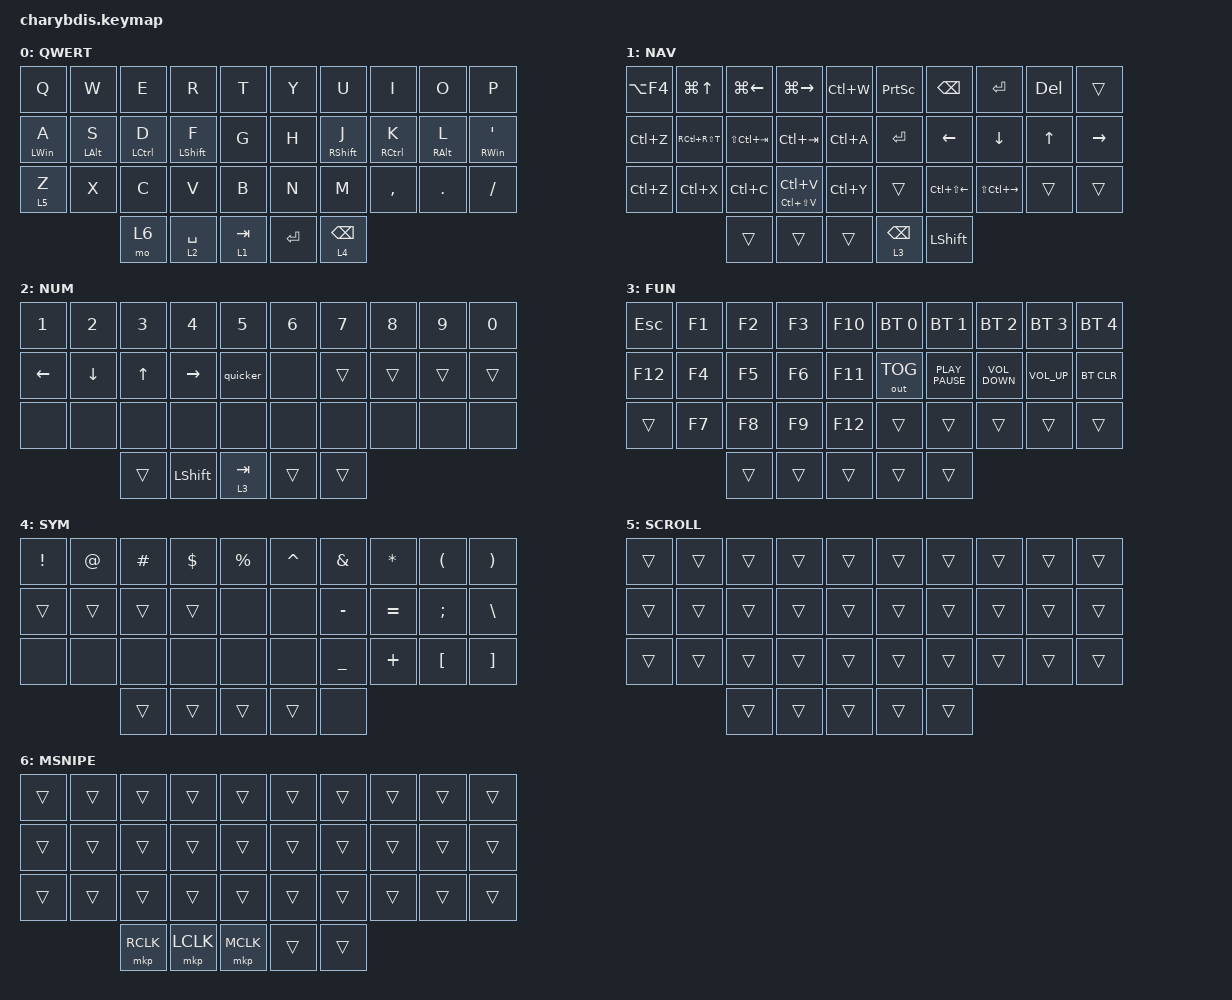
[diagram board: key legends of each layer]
#include <behaviors/mouse_keys.dtsi>
#include <dt-bindings/zmk/mouse.h>
#include <behaviors.dtsi>
#include <dt-bindings/zmk/bt.h>
#include <dt-bindings/zmk/keys.h>
#include <dt-bindings/zmk/outputs.h>
#include <dt-bindings/zmk/pointing.h>

&lt {
    tapping-term-ms = <240>;
    flavor = "tap-preferred";
    quick-tap-ms = <150>;
    require-prior-idle-ms = <10>;
};

&mt {
    tapping-term-ms = <250>;
    flavor = "tap-preferred";
    require-prior-idle-ms = <250>;
};

/ {
    chosen { zmk,matrix_transform = &five_column_transform; };
};

/ {
    combos {
        compatible = "zmk,combos";

        LeftClickRight {
            bindings = <&mkp LCLK>;
            key-positions = <12 11>;
        };

        RightClickRight {
            bindings = <&mkp RCLK>;
            key-positions = <21 22>;
        };
    };

    behaviors {
        Shift_Enter: Shift_Enter {
            compatible = "zmk,behavior-hold-tap";
            label = "SHIFT_ENTER";
            bindings = <&kp>, <&kp>;

            #binding-cells = <2>;
            hold-trigger-key-positions = <34>;
            tapping-term-ms = <100>;
        };
    };

    macros {
        quicker: quicker {
            compatible = "zmk,behavior-macro";
            #binding-cells = <0>;
            bindings = <&kp LEFT_CONTROL &kp LCTRL>, <&macro_press>;

            label = "QUICKER";
        };
    };

    keymap {
        compatible = "zmk,keymap";

        QWERT {
            bindings = <
  &kp Q           &kp W           &kp E        &kp R             &kp T        &kp Y      &kp U              &kp I        &kp O            &kp P
  &mt LEFT_WIN A  &mt LEFT_ALT S  &mt LCTRL D  &mt LEFT_SHIFT F  &kp G        &kp H      &mt RIGHT_SHIFT J  &mt RCTRL K  &mt RIGHT_ALT L  &mt RIGHT_WIN SQT
  &lt 5 Z         &kp X           &kp C        &kp V             &kp B        &kp N      &kp M              &kp COMMA    &kp DOT          &kp SLASH
                                  &mo 6        &lt 2 SPACE       &lt 1 TAB    &kp ENTER  &lt 4 BACKSPACE
            >;
        };

        NAV {
            bindings = <
  &kp LA(F4)  &kp LG(UP_ARROW)  &kp LG(LEFT)     &kp LG(RIGHT)        &kp LC(W)    &kp PRINTSCREEN  &kp BACKSPACE     &kp ENTER          &kp DELETE    &trans
  &kp LC(Z)   &kp RC(RS(T))     &kp LS(LC(TAB))  &kp LC(TAB)          &kp LC(A)    &kp ENTER        &kp LEFT          &kp DOWN           &kp UP_ARROW  &kp RIGHT
  &kp LC(Z)   &kp LC(X)         &kp LC(C)        &mt LC(LS(V)) LC(V)  &kp LC(Y)    &trans           &kp LC(LS(LEFT))  &kp LS(LC(RIGHT))  &trans        &trans
                                &trans           &trans               &trans       &lt 3 BACKSPACE  &kp LSHFT
            >;
        };

        NUM {
            bindings = <
  &kp N1    &kp N2          &kp N3        &kp N4          &kp N5       &kp N6  &kp N7  &kp N8  &kp N9  &kp N0
  &kp LEFT  &kp DOWN_ARROW  &kp UP_ARROW  &kp RIGHT       &quicker     &none   &trans  &trans  &trans  &trans
  &none     &none           &none         &none           &none        &none   &none   &none   &none   &none
                            &trans        &kp LEFT_SHIFT  &lt 3 TAB    &trans  &trans
            >;
        };

        FUN {
            bindings = <
  &kp ESC  &kp F1  &kp F2  &kp F3  &kp F10    &bt BT_SEL 0  &bt BT_SEL 1      &bt BT_SEL 2       &bt BT_SEL 3     &bt BT_SEL 4
  &kp F12  &kp F4  &kp F5  &kp F6  &kp F11    &out OUT_TOG  &kp K_PLAY_PAUSE  &kp C_VOLUME_DOWN  &kp C_VOLUME_UP  &bt BT_CLR
  &trans   &kp F7  &kp F8  &kp F9  &kp F12    &trans        &trans            &trans             &trans           &trans
                   &trans  &trans  &trans     &trans        &trans
            >;
        };

        SYM {
            bindings = <
  &kp EXCLAMATION  &kp AT_SIGN  &kp HASH  &kp DOLLAR  &kp PERCENT    &kp CARET  &kp AMPERSAND   &kp ASTERISK  &kp LEFT_PARENTHESIS  &kp RIGHT_PARENTHESIS
  &trans           &trans       &trans    &trans      &none          &none      &kp MINUS       &kp EQUAL     &kp SEMICOLON         &kp BACKSLASH
  &none            &none        &none     &none       &none          &none      &kp UNDERSCORE  &kp PLUS      &kp LEFT_BRACKET      &kp RIGHT_BRACKET
                                &trans    &trans      &trans         &trans     &none
            >;
        };

        SCROLL {
            bindings = <
  &trans  &trans  &trans  &trans  &trans    &trans  &trans  &trans  &trans  &trans
  &trans  &trans  &trans  &trans  &trans    &trans  &trans  &trans  &trans  &trans
  &trans  &trans  &trans  &trans  &trans    &trans  &trans  &trans  &trans  &trans
                  &trans  &trans  &trans    &trans  &trans
            >;
        };

        MSNIPE {
            bindings = <
  &trans  &trans  &trans     &trans     &trans       &trans  &trans  &trans  &trans  &trans
  &trans  &trans  &trans     &trans     &trans       &trans  &trans  &trans  &trans  &trans
  &trans  &trans  &trans     &trans     &trans       &trans  &trans  &trans  &trans  &trans
                  &mkp RCLK  &mkp LCLK  &mkp MCLK    &trans  &trans
            >;
        };
    };
};
